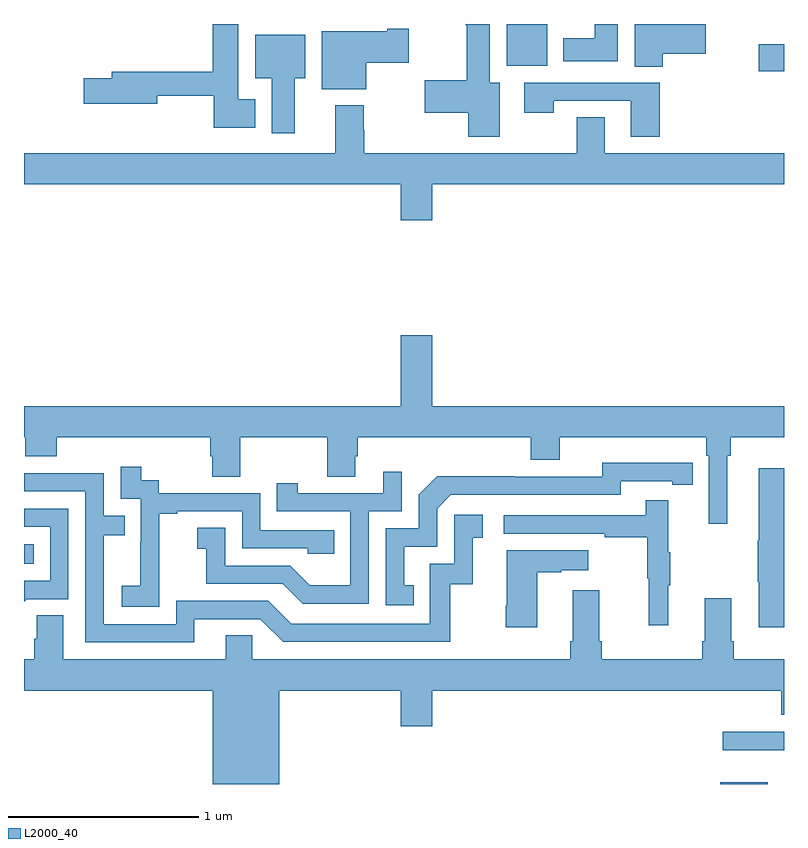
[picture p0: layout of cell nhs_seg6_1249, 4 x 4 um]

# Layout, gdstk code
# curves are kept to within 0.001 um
import gdstk
lib = gdstk.Library(unit=1e-6, precision=1e-09)
def R(c, l, rs):  # rectangles x0, y0, x1, y1
    for r in rs: c.add(gdstk.rectangle(r[:2], r[2:], *l))
def P(c, l, *ps):  # polygons
    for p in ps: c.add(gdstk.Polygon(p, *l))
L2000_40 = (2000, 40)

nhs_seg6_1249 = lib.new_cell('nhs_seg6_1249')
R(nhs_seg6_1249, L2000_40, [(190.664,957.5,190.915,957.508), (187,958.658,187.052,958.762), (190.866,961.252,191,961.394), (189.542,961.28,189.754,961.5)])
P(nhs_seg6_1249, L2000_40, [(189.505,961.192),(189.451,961.192),(189.451,961.5),(189.326,961.5),(189.326,961.493),(189.331,961.493),(189.331,961.205),(189.108,961.205),(189.108,961.034),(189.338,961.034),(189.338,960.906),(189.505,960.906)],
  [(190.361,961.343),(190.588,961.343),(190.588,961.5),(190.214,961.5),(190.214,961.276),(190.361,961.276)],
  [(188.218,961.105),(188.128,961.105),(188.128,961.5),(187.994,961.5),(187.994,961.25),(187.463,961.25),(187.463,961.214),(187.314,961.214),(187.314,961.079),(187.702,961.079),(187.702,961.122),(187.999,961.122),(187.999,960.953),(188.218,960.953)],
  [(190.126,961.5),(190.004,961.5),(190.004,961.426),(189.839,961.426),(189.839,961.304),(190.126,961.304)],
  [(188.8,961.297),(189.025,961.297),(189.025,961.475),(188.912,961.475),(188.912,961.462),(188.567,961.462),(188.567,961.157),(188.8,961.157)],
  [(188.425,961.214),(188.479,961.214),(188.479,961.444),(188.216,961.444),(188.216,961.214),(188.303,961.214),(188.303,960.924),(188.425,960.924)],
  [(190.346,961.191),(189.633,961.191),(189.633,961.032),(189.789,961.032),(189.789,961.095),(190.193,961.095),(190.193,960.906),(190.346,960.906)],
  [(189.148,960.656),(191,960.656),(191,960.82),(190.057,960.82),(190.057,961.01),(189.91,961.01),(189.91,960.82),(188.792,960.82),(188.792,960.941),(188.787,960.941),(188.787,961.072),(188.639,961.072),(188.639,960.82),(187,960.82),(187,960.656),(188.984,960.656),(188.984,960.468),(189.148,960.468)],
  [(190.702,959.228),(190.721,959.228),(190.721,959.324),(191,959.324),(191,959.488),(189.148,959.488),(189.148,959.863),(188.984,959.863),(188.984,959.488),(187,959.488),(187,959.324),(187.007,959.324),(187.007,959.225),(187.172,959.225),(187.172,959.324),(187.979,959.324),(187.979,959.226),(187.991,959.226),(187.991,959.116),(188.139,959.116),(188.139,959.324),(188.596,959.324),(188.596,959.116),(188.743,959.116),(188.743,959.226),(188.756,959.226),(188.756,959.324),(189.668,959.324),(189.668,959.207),(189.82,959.207),(189.82,959.324),(190.592,959.324),(190.592,959.228),(190.605,959.228),(190.605,958.869),(190.702,958.869)],
  [(189.05,958.545),(189.001,958.545),(189.001,958.749),(189.174,958.749),(189.174,958.95),(189.246,959.022),(190.14,959.022),(190.14,959.094),(190.412,959.094),(190.412,959.074),(190.52,959.074),(190.52,959.19),(190.044,959.191),(190.044,959.118),(189.584,959.118),(189.584,959.12),(189.176,959.12),(189.078,959.022),(189.078,958.845),(188.904,958.845),(188.904,958.44),(189.05,958.44)],
  [(187.713,958.639),(187.712,958.639),(187.712,958.923),(187.807,958.923),(187.807,958.935),(188.148,958.935),(188.148,958.74),(188.493,958.74),(188.493,958.713),(188.633,958.713),(188.633,958.836),(188.244,958.836),(188.244,959.031),(187.71,959.031),(187.71,959.1),(187.618,959.1),(187.618,959.17),(187.509,959.17),(187.509,959.001),(187.614,959.001),(187.614,958.772),(187.613,958.772),(187.613,958.543),(187.515,958.543),(187.515,958.433),(187.713,958.433)],
  [(191,959.161),(190.868,959.161),(190.868,958.781),(190.861,958.781),(190.861,958.564),(190.868,958.564),(190.868,958.326),(191,958.326)],
  [(188.814,958.935),(188.988,958.935),(188.988,959.143),(188.891,959.143),(188.891,959.031),(188.44,959.031),(188.44,959.083),(188.329,959.083),(188.329,958.935),(188.718,958.935),(188.718,958.546),(188.504,958.546),(188.4,958.65),(188.058,958.65),(188.058,958.849),(187.911,958.849),(187.911,958.739),(187.96,958.739),(187.96,958.554),(188.363,958.554),(188.468,958.449),(188.814,958.449)],
  [(187.897,958.368),(188.244,958.368),(188.364,958.248),(189.244,958.248),(189.244,958.551),(189.362,958.551),(189.362,958.797),(189.415,958.797),(189.415,958.918),(189.264,958.918),(189.264,958.659),(189.135,958.659),(189.135,958.344),(188.406,958.344),(188.286,958.464),(187.8,958.464),(187.8,958.341),(187.419,958.341),(187.419,958.81),(187.529,958.81),(187.529,958.911),(187.419,958.911),(187.419,959.136),(187,959.136),(187,959.04),(187.323,959.04),(187.323,958.245),(187.897,958.245)],
  [(190.391,958.547),(190.402,958.547),(190.402,958.721),(190.391,958.721),(190.391,958.993),(190.273,958.993),(190.273,958.914),(189.525,958.914),(189.525,958.818),(190.057,958.818),(190.057,958.798),(190.281,958.798),(190.281,958.584),(190.288,958.584),(190.288,958.335),(190.391,958.335)],
  [(187.014,958.473),(187.233,958.473),(187.233,958.95),(187,958.95),(187,958.854),(187.137,958.854),(187.137,958.569),(187,958.569),(187,958.459)],
  [(189.7,958.615),(189.827,958.615),(189.827,958.625),(189.97,958.625),(189.97,958.729),(189.542,958.729),(189.542,958.438),(189.535,958.438),(189.535,958.326),(189.7,958.326)],
  [(188.344,957.992),(188.984,957.992),(188.984,957.804),(189.148,957.804),(189.148,957.992),(190.985,957.992),(190.985,957.864),(191,957.864),(191,958.156),(190.736,958.156),(190.736,958.252),(190.723,958.252),(190.723,958.477),(190.583,958.477),(190.583,958.252),(190.571,958.252),(190.571,958.156),(190.04,958.156),(190.04,958.252),(190.027,958.252),(190.027,958.519),(189.887,958.519),(189.887,958.252),(189.875,958.252),(189.875,958.156),(188.202,958.156),(188.202,958.283),(188.063,958.283),(188.063,958.156),(187.207,958.156),(187.207,958.388),(187.068,958.388),(187.068,958.265),(187.055,958.265),(187.055,958.156),(187,958.156),(187,957.992),(187.994,957.992),(187.994,957.5),(188.344,957.5)],
  [(191,957.774),(190.889,957.774),(190.889,957.776),(190.677,957.776),(190.677,957.677),(191,957.677)])

lib.write_gds('nhs_seg6_1249.gds')
